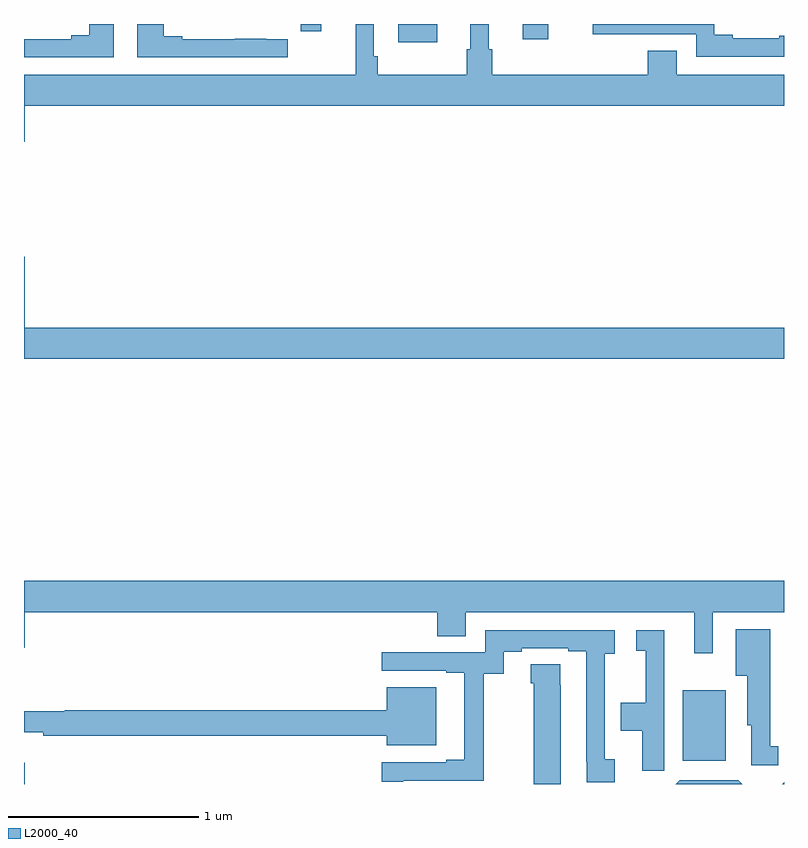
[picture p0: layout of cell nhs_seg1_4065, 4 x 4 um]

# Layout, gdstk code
import gdstk
lib = gdstk.Library(unit=1e-6, precision=1e-09)
def R(c, l, rs):  # rectangles x0, y0, x1, y1
    for r in rs: c.add(gdstk.rectangle(r[:2], r[2:], *l))
def P(c, l, *ps):  # polygons
    for p in ps: c.add(gdstk.Polygon(p, *l))
L2000_40 = (2000, 40)

nhs_seg1_4065 = lib.new_cell('nhs_seg1_4065')
R(nhs_seg1_4065, L2000_40, [(333,512.199,333.004,512.311), (336.467,512.321,336.694,512.692), (334.97,516.104,335.175,516.199), (335.624,516.12,335.758,516.199), (334.456,516.162,334.565,516.199)])
P(nhs_seg1_4065, L2000_40, [(334.387,516.12),(334.274,516.12),(334.274,516.121),(334.108,516.121),(334.108,516.12),(333.832,516.12),(333.832,516.135),(333.736,516.135),(333.736,516.199),(333.596,516.199),(333.596,516.024),(334.387,516.024)],
  [(337,515.932),(336.436,515.932),(336.436,516.059),(336.284,516.059),(336.284,515.932),(335.465,515.932),(335.465,516.066),(335.446,516.066),(335.446,516.199),(335.348,516.199),(335.348,516.066),(335.329,516.066),(335.329,515.932),(334.862,515.932),(334.862,516.028),(334.842,516.028),(334.842,516.199),(334.745,516.199),(334.745,515.932),(333,515.932),(333,515.58),(333.004,515.58),(333.004,515.768),(337,515.768)],
  [(333.472,516.199),(333.344,516.199),(333.344,516.14),(333.248,516.14),(333.248,516.12),(333,516.12),(333,516.024),(333.472,516.024)],
  [(337,516.138),(336.974,516.138),(336.974,516.123),(336.73,516.123),(336.73,516.142),(336.634,516.142),(336.634,516.199),(335.994,516.199),(335.994,516.144),(336.537,516.144),(336.537,516.027),(337,516.027)],
  [(337,514.6),(333.004,514.6),(333.004,514.975),(333,514.975),(333,514.436),(337,514.436)],
  [(336.624,513.104),(337,513.104),(337,513.268),(333,513.268),(333,512.916),(333.004,512.916),(333.004,513.104),(335.174,513.104),(335.174,512.977),(335.326,512.977),(335.326,513.104),(336.527,513.104),(336.527,512.886),(336.624,512.886)],
  [(336.969,512.397),(336.928,512.397),(336.928,513.013),(336.746,513.013),(336.746,512.768),(336.806,512.768),(336.806,512.508),(336.827,512.508),(336.827,512.298),(336.969,512.298)],
  [(336.109,512.328),(336.057,512.328),(336.057,512.885),(336.109,512.885),(336.109,513.009),(335.427,513.009),(335.427,512.892),(334.884,512.892),(334.884,512.796),(335.222,512.796),(335.222,512.784),(335.318,512.784),(335.318,512.326),(335.222,512.326),(335.222,512.313),(334.884,512.313),(334.884,512.212),(334.996,512.212),(334.996,512.217),(335.42,512.217),(335.42,512.78),(335.524,512.78),(335.524,512.895),(335.62,512.895),(335.62,512.913),(335.864,512.913),(335.864,512.898),(335.96,512.898),(335.96,512.317),(335.961,512.317),(335.961,512.209),(336.109,512.209)],
  [(336.37,513.007),(336.222,513.007),(336.222,512.901),(336.272,512.901),(336.272,512.626),(336.142,512.626),(336.142,512.479),(336.254,512.479),(336.254,512.268),(336.37,512.268)],
  [(335.824,512.72),(335.823,512.72),(335.823,512.828),(335.666,512.828),(335.666,512.73),(335.684,512.73),(335.684,512.199),(335.824,512.199)],
  [(335.17,512.707),(334.91,512.707),(334.91,512.588),(333.214,512.588),(333.214,512.581),(333,512.581),(333,512.471),(333.1,512.471),(333.1,512.452),(334.91,512.452),(334.91,512.402),(335.17,512.402)],
  [(336.759,512.22),(336.45,512.22),(336.429,512.199),(336.78,512.199)],
  [(337,512.209),(336.99,512.199),(337,512.199)])

lib.write_gds('nhs_seg1_4065.gds')
